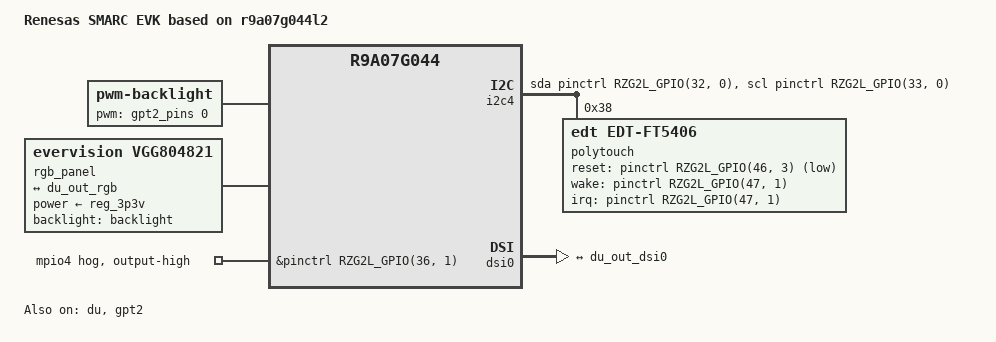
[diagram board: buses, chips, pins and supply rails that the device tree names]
// SPDX-License-Identifier: (GPL-2.0-only OR BSD-2-Clause)
/*
 * Device Tree Source for the RZ/G2L SMARC EVK board
 *
 * Copyright (C) 2021 Renesas Electronics Corp.
 */

/dts-v1/;

//#include <linux/media-bus-format.h>
#include "r9a07g044l2.dtsi"
#include "rzg2l-smarc-som.dtsi"
#include "rzg2l-smarc-pinfunction.dtsi"
#include "rz-smarc-common.dtsi"
#include "rzg2l-regulus.dtsi"

/ {
	model = "Renesas SMARC EVK based on r9a07g044l2";
	compatible = "renesas,smarc-evk", "renesas,r9a07g044l2", "renesas,r9a07g044";

	i2c4: i2c4 {
		status = "okay";
		compatible = "i2c-gpio";
		pinctrl-0 = <&i2c4_pins>;
		pinctrl-names = "default";

		sda-gpios = <&pinctrl RZG2L_GPIO(32, 0) GPIO_ACTIVE_HIGH>;
		scl-gpios = <&pinctrl RZG2L_GPIO(33, 0) GPIO_ACTIVE_HIGH>;
		i2c-gpio,delay-us = <2>;        /* ~100 kHz */
		#address-cells = <1>;
		#size-cells = <0>;
	};
	i2c4_pins: i2c4-pins {
		pinmux = <&pinctrl RZG2L_GPIO(32, 0) GPIO_ACTIVE_HIGH>, <&pinctrl RZG2L_GPIO(33, 0) GPIO_ACTIVE_HIGH>;
	};

	backlight: backlight {
		compatible = "pwm-backlight";
		pwms = <&gpt2_pins 0 50000>;
		brightness-levels = <0 2 8 16 32 64 128 255>;
		default-brightness-level = <6>;
	};
	gpt2_pins: gpt2 {
		pinmux = <RZG2L_PORT_PINMUX(48, 2, 4)>;
	};
	rgb_panel: rgb-panel {
		status = "okay";
		//compatible = "dataimage,scf0700c48ggu18";
		//compatible = "ampire,am-1280800n3tzqw-t00h";
		//compatible = "auo,g121ean01";
		compatible = "evervision,vgg804821";
		power-supply = <&reg_3p3v>;
		backlight = <&backlight>;
		no-hpd;
		ports {
			port@0 {
				panel_in_rgb: endpoint {
					remote-endpoint = <&du_out_rgb>;
				};
			};
		};
	};
	du_pins: du {
		groups = "disp_bgr888", "disp_sync", "disp_de", "disp_clk";
		function = "disp";
		data {
			pinmux = <RZG2L_PORT_PINMUX(7, 2, 1)>,
				<RZG2L_PORT_PINMUX(8, 0, 1)>,
				<RZG2L_PORT_PINMUX(8, 1, 1)>,
				<RZG2L_PORT_PINMUX(8, 2, 1)>,
				<RZG2L_PORT_PINMUX(9, 0, 1)>,
				<RZG2L_PORT_PINMUX(9, 1, 1)>,
				<RZG2L_PORT_PINMUX(10, 0, 1)>,
				<RZG2L_PORT_PINMUX(10, 1, 1)>,
				<RZG2L_PORT_PINMUX(11, 0, 1)>,
				<RZG2L_PORT_PINMUX(11, 1, 1)>,
				<RZG2L_PORT_PINMUX(12, 0, 1)>,
				<RZG2L_PORT_PINMUX(12, 1, 1)>,
				<RZG2L_PORT_PINMUX(13, 0, 1)>,
				<RZG2L_PORT_PINMUX(13, 1, 1)>,
				<RZG2L_PORT_PINMUX(13, 2, 1)>,
				<RZG2L_PORT_PINMUX(14, 0, 1)>,
				<RZG2L_PORT_PINMUX(14, 1, 1)>,
				<RZG2L_PORT_PINMUX(15, 0, 1)>,
				<RZG2L_PORT_PINMUX(15, 1, 1)>,
				<RZG2L_PORT_PINMUX(16, 0, 1)>,
				<RZG2L_PORT_PINMUX(16, 1, 1)>,
				<RZG2L_PORT_PINMUX(17, 0, 1)>,
				<RZG2L_PORT_PINMUX(17, 1, 1)>,
				<RZG2L_PORT_PINMUX(17, 2, 1)>;
			drive-strength = <2>;
		};
		sync {
			pinmux = <RZG2L_PORT_PINMUX(6, 1, 1)>,	// HSYNC
				<RZG2L_PORT_PINMUX(7, 0, 1)>;	// VSYNC
			drive-strength = <2>;
		};
		de {
			pinmux = <RZG2L_PORT_PINMUX(7, 1, 1)>;	// DE
			drive-strength = <2>;
		};
		clk {
			pinmux = <RZG2L_PORT_PINMUX(6, 0, 1)>;	// CLK
		};
	};
	mpio4: mpio4 {
		gpio-hog;
		gpios = <&pinctrl RZG2L_GPIO(36, 1) GPIO_ACTIVE_HIGH>;
		output-high;
		line-name = "mpio4";
	};
};

&reg_3p3v {
	pinctrl-0 = <&mpio4>;
	pinctrl-names = "default";
};

&du {
	status = "okay";
	pinctrl-0 = <&du_pins>;
	pinctrl-names = "default";

	ports {
		#address-cells = <1>;
		#size-cells = <0>;
		port@0 {
			reg = <0>;
			du_out_rgb: endpoint {
				remote-endpoint = <&panel_in_rgb>;
			};
		};
		port@1 {
			reg = <1>;
			du_out_dsi0: endpoint {
				remote-endpoint = <&dsi0_in>;
			};
		};
	};
};

&dsi0 {
	status = "okay";
	ports {
		#address-cells = <1>;
		#size-cells = <0>;
		port@0 {
			reg = <0>;
			dsi0_in: endpoint {
				remote-endpoint = <&du_out_dsi0>;
			};
		};
		port@1 {
			reg = <1>;
			dsi0_out: endpoint {
				//////////////////////////////
			};
		};
	};
};

&gpt2 {
	status = "okay";
};

&i2c4 {
	polytouch: edt-ft5x06@38 {
		compatible = "edt,edt-ft5406", "edt,edt-ft5506";
		reg = <0x38>;
		pinmux = <&pinctrl RZG2L_GPIO(46, 3) GPIO_ACTIVE_HIGH>, <&pinctrl RZG2L_GPIO(47, 1) GPIO_ACTIVE_HIGH>;
		interrupt-parent = <&pinctrl>;
		interrupts = <RZG2L_GPIO(47, 1) IRQ_TYPE_LEVEL_LOW>;
                wakeup-source;
		reset-gpios = <&pinctrl RZG2L_GPIO(46, 3) GPIO_ACTIVE_LOW>;
		wake-gpios = <&pinctrl RZG2L_GPIO(47, 1) GPIO_ACTIVE_HIGH>;
	};
};
